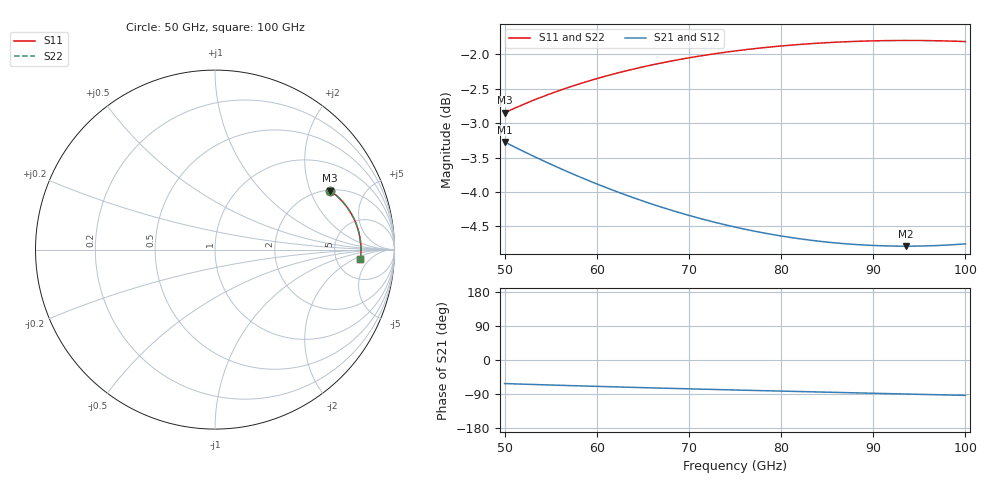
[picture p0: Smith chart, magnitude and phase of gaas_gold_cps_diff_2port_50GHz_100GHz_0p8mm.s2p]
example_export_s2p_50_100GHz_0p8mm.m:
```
% Export differential 2-port S-parameters (.s2p) using txlineRLCGLine.
% Frequency range: 50 GHz .. 100 GHz (logspace).
% Line length: 0.8 mm.
% Assumptions:
%   - Cpul and Lpul constant with frequency
%   - Gpul = 0
%   - Rpul(f) from skin-depth / penetration model
%   - Port reference impedance Z0 = 100 Ohm (differential)

clear; clc;

% Geometry [m]
s = 20e-6;
t_au = 1e-6;
inner_gap = 50e-6;
g = inner_gap / 2;
h = 1e-6;
lineLength = 0.8e-3; % [m]

% Materials
eps_r_gaas = 12.9;
sigma_au = 4.10e7; % [S/m]

% Frequency sweep
fmin = 50e9;
fmax = 100e9;
Nfreq = 10000;
freq = logspace(log10(fmin), log10(fmax), Nfreq);

% Make root routines visible
this_file = mfilename('fullpath');
this_dir = fileparts(this_file);
repo_root = fileparts(fileparts(this_dir));
addpath(repo_root);

% Quasi-static C and L (constant over frequency)
qs = cps_single_layer_params(s, g, h, eps_r_gaas);
Cpul = qs.C_F_per_m;
Lpul = qs.Z_Ohm^2 * Cpul;

% Frequency-dependent differential Rpul (1xN)
rac = cps_rpul_matrix_skin(freq, s, t_au, sigma_au);
Rpul = rac.Rpul_Ohm_per_m;

% Export Touchstone
outfile = fullfile(this_dir, 'gaas_gold_cps_diff_2port_50GHz_100GHz_0p8mm.s2p');
out = cps_export_s2p_txlineRLCGLine(outfile, fmin, fmax, Nfreq, lineLength, Cpul, Lpul, Rpul, 0);

% Plot
S = out.S2;
S11_dB = 20 * log10(abs(squeeze(S(1, 1, :))));
S21_dB = 20 * log10(abs(squeeze(S(2, 1, :))));

fig = figure('Visible', 'off');
semilogx(freq, S11_dB, 'LineWidth', 1.3); hold on;
semilogx(freq, S21_dB, 'LineWidth', 1.3);
grid on;
xlabel('Frequency [Hz]');
ylabel('Magnitude [dB]');
title('Differential CPS S-parameters (50 GHz .. 100 GHz, 0.8 mm, Z0 = 100 Ohm)');
legend('|S11|', '|S21|', 'Location', 'best');

plotfile = fullfile(this_dir, 'gaas_gold_cps_diff_2port_50GHz_100GHz_0p8mm_plot.png');
exportgraphics(fig, plotfile, 'Resolution', 180);
close(fig);

fprintf('Touchstone file written:\n%s\n', out.filename);
fprintf('Plot written:\n%s\n', plotfile);
fprintf('lineLength: %.3f mm\n', lineLength * 1e3);
fprintf('f-range: %.3f GHz .. %.3f GHz, N=%d\n', fmin/1e9, fmax/1e9, Nfreq);
fprintf('Z0 normalization: 100 Ohm\n');
```
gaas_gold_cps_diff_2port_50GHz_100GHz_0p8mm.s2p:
# Hz S RI R 100
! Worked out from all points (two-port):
!   10000 points, 50 GHz to 100 GHz, reference 100 ohm
!   highest |S21| = -3.27 dB at 50 GHz (marker M1); lowest = -4.8 dB at 93.56 GHz (marker M2)
!   |S21| within 3 dB of the highest: start of sweep to end of sweep
!   lowest |S11| = -2.8 dB at 50 GHz (marker M3), VSWR 6.15, Z = 203 + j277 ohm
!   |S11| at or under -10 dB: nowhere
!   |S22| runs from -2.8 to -1.8 dB; largest |S21 - S12| = 3.9e-16
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5e10  0.641 0.3288  0.3194 -0.6071  0.3194 -0.6071  0.641 0.3288
5.596188e10  0.6899 0.2886  0.259 -0.6033  0.259 -0.6033  0.6899 0.2886
5.892385e10  0.7105 0.2673  0.2321 -0.6005  0.2321 -0.6005  0.7105 0.2673
6.196094e10  0.7292 0.2448  0.2063 -0.5974  0.2063 -0.5974  0.7292 0.2448
6.832782e10  0.7613 0.1965  0.1573 -0.5906  0.1573 -0.5906  0.7613 0.1965
7.500499e10  0.7858 0.1447  0.1117 -0.5842  0.1117 -0.5842  0.7858 0.1447
7.952426e10  0.7977 0.1093  0.0833 -0.5808  0.0833 -0.5808  0.7977 0.1093
8.414066e10  0.8063 0.0732  0.0558 -0.5782  0.0558 -0.5782  0.8063 0.0732
8.882778e10  0.8115 0.0364  0.0288 -0.5766  0.0288 -0.5766  0.8115 0.0364
9.355524e10  0.8132 -0.000753  0.00212 -0.5761  0.00212 -0.5761  0.8132 -0.000753
1e11  0.8101 -0.0514  -0.0344 -0.5773  -0.0344 -0.5773  0.8101 -0.0514
